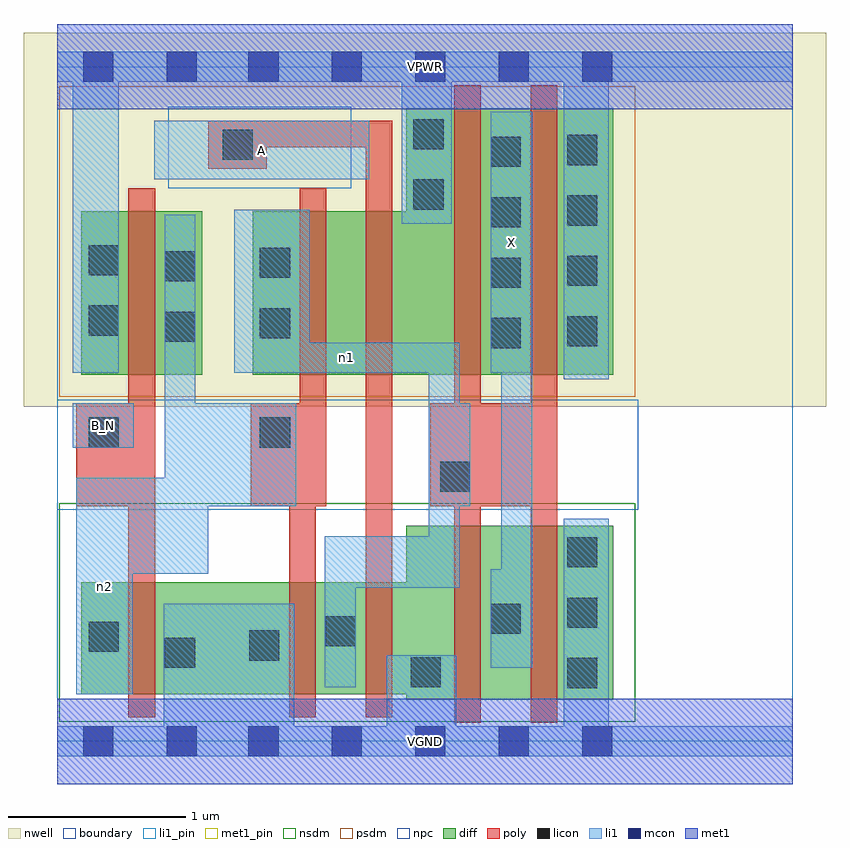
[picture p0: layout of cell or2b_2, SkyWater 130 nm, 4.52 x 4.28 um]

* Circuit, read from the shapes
.subckt or2b_2 A B_N VGND VPWR X n1 n2
XM1 VGND B_N n2 VSUBS sky130_fd_pr__nfet_01v8 w=0.63 l=0.15
XM2 n1 n2 VGND VSUBS sky130_fd_pr__nfet_01v8 w=0.63 l=0.15
XM3 VGND A n1 VSUBS sky130_fd_pr__nfet_01v8 w=0.63 l=0.15
XM4 X n1 VGND VSUBS sky130_fd_pr__nfet_01v8 w=0.98 l=0.15 m=2
XM5 n2 B_N VPWR n3 sky130_fd_pr__pfet_01v8 w=0.92 l=0.15
XM6 n4 n2 n1 n3 sky130_fd_pr__pfet_01v8 w=0.92 l=0.15
XM7 VPWR A n4 n3 sky130_fd_pr__pfet_01v8 w=0.92 l=0.15
XM8 X n1 VPWR n3 sky130_fd_pr__pfet_01v8 w=1.5 l=0.15 m=2
.ends

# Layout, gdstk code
import gdstk
lib = gdstk.Library(unit=1e-6, precision=1e-09)
def R(c, l, rs):  # rectangles x0, y0, x1, y1
    for r in rs: c.add(gdstk.rectangle(r[:2], r[2:], *l))
def A(c, l, x, y, w, h, nx, ny, dx, dy):  # array of equal rectangles
    R(c, l, [(x+i*dx, y+j*dy, x+i*dx+w, y+j*dy+h) for i in range(nx) for j in range(ny)])
nwell = (64, 20)
diff = (65, 20)
poly = (66, 20)
licon = (66, 44)
li1_pin = (67, 16)
li1 = (67, 20)
mcon = (67, 44)
met1_pin = (68, 16)
met1 = (68, 20)
nsdm = (93, 44)
psdm = (94, 20)
npc = (95, 20)
boundary = (235, 4)

or2b_2 = lib.new_cell('or2b_2')
R(or2b_2, nwell, [(-0.19,1.885,4.33,3.99), (0,1.885,4.14,3.99)])
R(or2b_2, diff, [(1.965,0.235,3.13,1.215), (0.135,0.265,3.13,0.895), (0.135,2.065,0.815,2.985), (1.1,2.065,3.13,2.985), (1.965,2.065,3.13,3.565)])
R(or2b_2, poly, [(2.235,0.105,2.385,3.695), (2.665,0.105,2.815,3.695), (0.4,0.135,0.55,3.115), (1.305,0.135,1.455,1.905), (1.735,0.135,1.885,3.495), (0.105,1.325,0.55,1.905), (1.09,1.325,1.515,1.905), (1.365,1.325,1.515,3.115), (2.1,1.325,2.815,1.905), (0.85,3.225,1.18,3.495), (0.85,3.345,1.885,3.495)])
A(or2b_2, licon, 2.87, 0.3, 0.17, 0.17, 1, 3, 0, 0.34)
A(or2b_2, licon, 2.44, 2.215, 0.17, 0.17, 1, 4, 0, 0.34)
A(or2b_2, licon, 2.87, 2.225, 0.17, 0.17, 1, 4, 0, 0.34)
R(or2b_2, licon, [(1.99,0.305,2.16,0.475), (0.605,0.415,0.775,0.585), (1.08,0.455,1.25,0.625), (0.175,0.505,0.345,0.675), (1.51,0.535,1.68,0.705), (2.44,0.605,2.61,0.775), (2.155,1.405,2.325,1.575), (0.175,1.655,0.345,1.825), (1.14,1.655,1.31,1.825), (0.605,2.25,0.775,2.42), (1.14,2.27,1.31,2.44), (0.175,2.285,0.345,2.455), (0.605,2.59,0.775,2.76), (1.14,2.61,1.31,2.78), (0.175,2.625,0.345,2.795), (2.005,2.995,2.175,3.165), (0.93,3.275,1.1,3.445), (2.005,3.335,2.175,3.505)])
R(or2b_2, li1_pin, [(0.085,1.655,0.43,1.905), (2.44,2.075,2.675,3.545), (0.545,3.165,1.755,3.495)])
R(or2b_2, li1, [(0,-0.085,4.14,0.085), (0.6,-0.085,1.335,0.775), (1.855,-0.085,2.245,0.485), (2.85,-0.085,3.105,1.255), (0.105,0.265,0.425,1.485), (1.505,0.305,1.68,1.155), (2.44,0.415,2.675,0.97), (2.5,0.415,2.675,3.545), (1.505,0.865,2.265,1.155), (2.09,0.865,2.265,2.245), (0.105,0.945,0.85,1.485), (0.605,0.945,0.775,2.965), (0.605,0.945,0.85,1.905), (0.605,1.325,1.345,1.905), (2.09,1.325,2.325,1.905), (0.085,1.655,0.43,1.905), (2.85,2.04,3.105,3.885), (0.085,2.075,0.345,3.885), (0.995,2.075,2.265,2.245), (0.995,2.075,1.42,2.995), (2.44,2.075,2.675,3.545), (1.94,2.915,2.22,3.885), (0.545,3.165,1.755,3.495), (0,3.715,4.14,3.885)])
A(or2b_2, mcon, 1.075, -0.085, 0.17, 0.17, 5, 2, 0.47, 3.8)
R(or2b_2, mcon, [(0.145,-0.085,0.315,0.085), (0.615,-0.085,0.785,0.085), (0.145,3.715,0.315,3.885), (0.615,3.715,0.785,3.885)])
R(or2b_2, met1_pin, [(0,-0.24,4.14,0.24), (0,3.56,4.14,4.04)])
R(or2b_2, met1, [(0,-0.24,4.14,0.24), (0,3.56,4.14,4.04)])
R(or2b_2, nsdm, [(0.01,0.11,3.255,1.34)])
R(or2b_2, psdm, [(0.01,1.94,3.255,3.69)])
R(or2b_2, npc, [(0,1.305,3.27,1.925), (0.625,3.115,1.655,3.575)])
R(or2b_2, boundary, [(0,0,4.14,3.8)])
or2b_2.add(gdstk.Label('A', (1.15,3.33), layer=67, texttype=5))
or2b_2.add(gdstk.Label('B_N', (0.257,1.78), layer=67, texttype=5))
or2b_2.add(gdstk.Label('X', (2.557,2.81), layer=67, texttype=5))
or2b_2.add(gdstk.Label('n2', (0.265,0.875), layer=67, texttype=5))
or2b_2.add(gdstk.Label('n1', (1.63,2.16), layer=67, texttype=5))
or2b_2.add(gdstk.Label('VPWR', (2.07,3.8), layer=68, texttype=5))
or2b_2.add(gdstk.Label('VGND', (2.07,0), layer=68, texttype=5))
or2b_2.add(gdstk.Label('A', (1.15,3.33), layer=67, texttype=16))
or2b_2.add(gdstk.Label('B_N', (0.257,1.78), layer=67, texttype=16))
or2b_2.add(gdstk.Label('X', (2.557,2.81), layer=67, texttype=16))
or2b_2.add(gdstk.Label('VPWR', (2.07,3.8), layer=68, texttype=16))
or2b_2.add(gdstk.Label('VGND', (2.07,0), layer=68, texttype=16))

lib.write_gds('or2b_2.gds')
